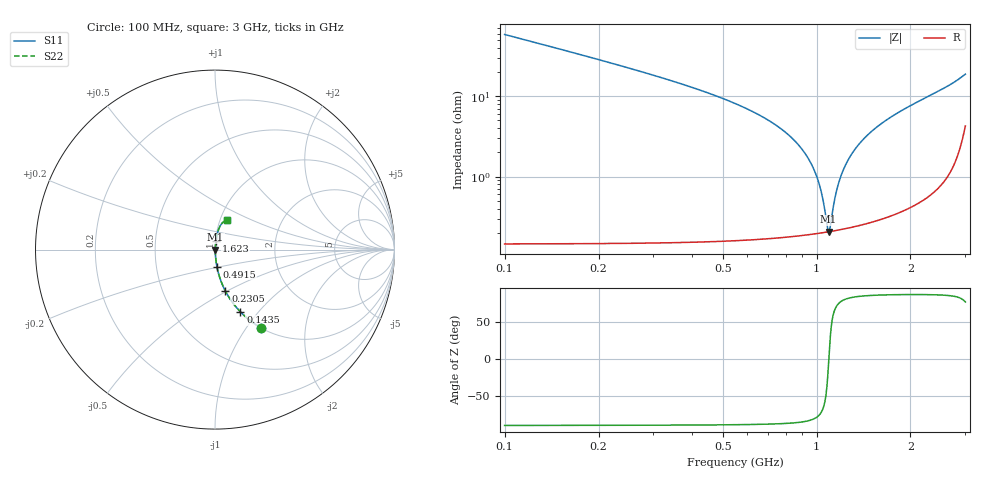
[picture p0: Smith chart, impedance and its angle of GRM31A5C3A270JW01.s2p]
!Murata Part Number: GRM31A5C3A270JW01
!These Parameters are Measured in Series Mode Connection
!Data Generated on Mar 30, 2021
!  o--ll--o
!Port1  Port2
!  o------o
!Operation Temp=25[degC], DC Bias Voltage=0[V]
!Freq. Start=100[MHz] Stop=3[GHz] 401[Steps]
# Hz S RI R 50
!Freq.(Hz) S11(Real) S11(Imag) S21(Real) S21(Imag) S12(Real) S12(Imag) S22(Real) S22(Imag)
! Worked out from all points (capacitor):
!   401 points, 100 MHz to 3 GHz, reference 50 ohm
!   read as one part in series: C = 27 pF near 114.5 MHz
!   lowest |Z| = 207 mohm at 1.093 GHz (marker M1)
!   series resonance near 1.095 GHz, so ESL is about 780 pH
!   S11 on the Smith chart (normalised r, x): 100 MHz: 1.00, -1.17; 143.5 MHz: 1.00, -0.81; 230.5 MHz: 1.00, -0.49; 491.5 MHz: 1.00, -0.19; 1.623 GHz: 1.01, +0.09; 3 GHz: 1.09, +0.37
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1e8  0.2553 -0.4348  0.7447 0.4348  0.7447 0.4348  0.2553 -0.4348
1.435e8  0.1412 -0.3464  0.8588 0.3464  0.8588 0.3464  0.1412 -0.3464
2.305e8  0.0577 -0.2302  0.9423 0.2302  0.9423 0.2302  0.0577 -0.2302
4.915e8  0.0107 -0.0951  0.9893 0.0951  0.9893 0.0951  0.0107 -0.0951
5.8575e8  0.0068 -0.0718  0.9932 0.0718  0.9932 0.0718  0.0068 -0.0718
7.96e8  0.00301 -0.0352  0.997 0.0352  0.997 0.0352  0.00301 -0.0352
9.265e8  0.00222 -0.0183  0.9978 0.0183  0.9978 0.0183  0.00222 -0.0183
9.7725e8  0.00209 -0.0125  0.9979 0.0125  0.9979 0.0125  0.00209 -0.0125
1.0135e9  0.00204 -0.00848  0.998 0.00848  0.998 0.00848  0.00204 -0.00848
1.0425e9  0.00203 -0.00539  0.998 0.00539  0.998 0.00539  0.00203 -0.00539
1.0715e9  0.00204 -0.00237  0.998 0.00237  0.998 0.00237  0.00204 -0.00237
1.09325e9  0.00206 -0.00016  0.9979 0.00016  0.9979 0.00016  0.00206 -0.00016
1.10775e9  0.00208 0.00129  0.9979 -0.00129  0.9979 -0.00129  0.00208 0.00129
1.144e9  0.00215 0.00485  0.9979 -0.00485  0.9979 -0.00485  0.00215 0.00485
1.173e9  0.00222 0.00763  0.9978 -0.00763  0.9978 -0.00763  0.00222 0.00763
1.2455e9  0.00247 0.0144  0.9975 -0.0144  0.9975 -0.0144  0.00247 0.0144
1.36875e9  0.00309 0.0252  0.9969 -0.0252  0.9969 -0.0252  0.00309 0.0252
1.55e9  0.00442 0.0401  0.9956 -0.0401  0.9956 -0.0401  0.00442 0.0401
1.6225e9  0.00508 0.0459  0.9949 -0.0459  0.9949 -0.0459  0.00508 0.0459
2.03575e9  0.0104 0.0779  0.9896 -0.0779  0.9896 -0.0779  0.0104 0.0779
2.5215e9  0.0222 0.1179  0.9778 -0.1179  0.9778 -0.1179  0.0222 0.1179
3e9  0.0695 0.1632  0.9305 -0.1632  0.9305 -0.1632  0.0695 0.1632
